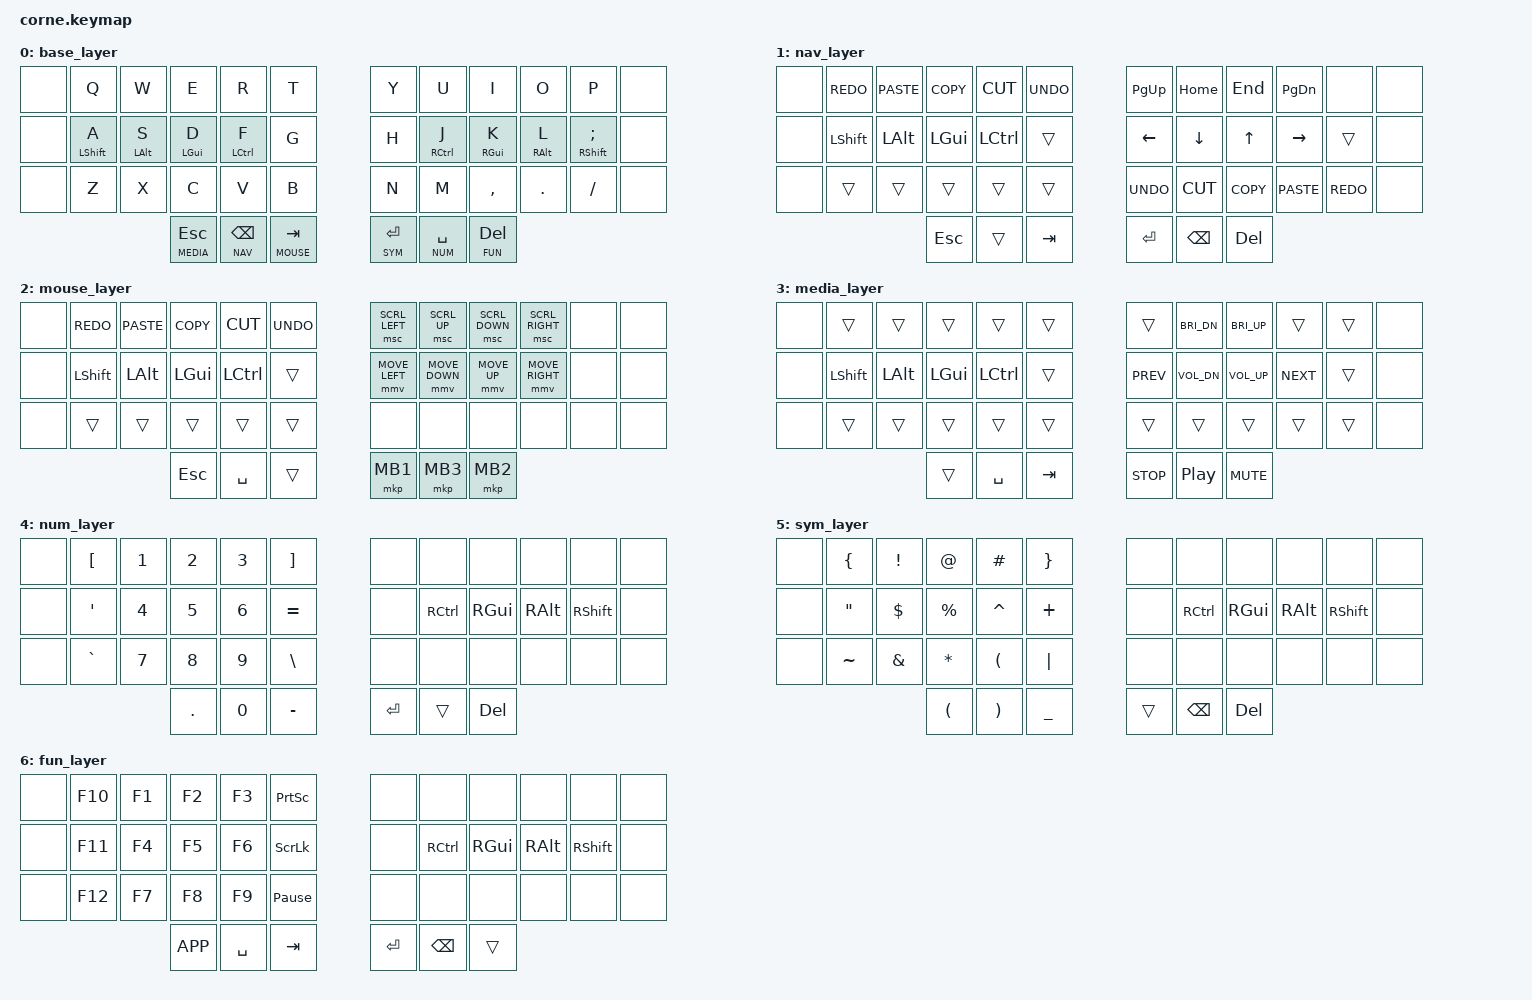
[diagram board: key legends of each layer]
/*
 * Copyright (c) 2020 The ZMK Contributors
 *
 * SPDX-License-Identifier: MIT
 */

#include <behaviors.dtsi>
#include <dt-bindings/zmk/keys.h>
#include <dt-bindings/zmk/bt.h>
#include <dt-bindings/zmk/mouse.h>

#define BASE  0
#define NAV   1
#define MOUSE 2
#define MEDIA 3
#define NUM   4
#define SYM   5
#define FUN   6

/ {
    behaviors {
        hm: homerow_mods {
            compatible = "zmk,behavior-hold-tap";
            label = "HOMEROW_MODS";
            #binding-cells = <2>;
            tapping-term-ms = <280>;
            quick-tap-ms = <175>;
            require-prior-idle-ms = <150>;
            flavor = "balanced";
            bindings = <&kp>, <&kp>;
        };
    };

    keymap {
        compatible = "zmk,keymap";

        base_layer {
// ╭──────┬──────┬──────┬──────┬──────┬──────╮   ╭──────┬──────┬──────┬──────┬──────┬──────╮
// │      │  Q   │  W   │  E   │  R   │  T   │   │  Y   │  U   │  I   │  O   │  P   │      │
// │      │GUI/A │ALT/S │CTL/D │SHT/F │  G   │   │  H   │SHT/J │CTL/K │ALT/L │GUI/; │      │
// │      │  Z   │  X   │  C   │  V   │  B   │   │  N   │  M   │  ,   │  .   │  /   │      │
// ╰──────┴──────┴──────┼──────┼──────┼──────┤   ├──────┼──────┼──────┼──────┴──────┴──────╯
//                      │Med/⎋ │Nav/⌫ │Mou/⇥ │   │Sym/↵ │Num/␣ │Fun/⌦ │
//                      ╰──────┴──────┴──────╯   ╰──────┴──────┴──────╯
            bindings = <
   &none  &kp Q       &kp W       &kp E        &kp R        &kp T          &kp Y        &kp U        &kp I        &kp O       &kp P         &none
   &none  &hm LSHFT A &hm LALT S  &hm LGUI D   &hm LCTRL F  &kp G          &kp H        &hm RCTRL J  &hm RGUI K  &hm RALT L  &hm RSHFT SEMI &none
   &none  &kp Z       &kp X       &kp C        &kp V        &kp B          &kp N        &kp M        &kp COMMA    &kp DOT     &kp FSLH      &none
                                  &lt MEDIA ESC &lt NAV BSPC  &lt MOUSE TAB  &lt SYM RET  &lt NUM SPC &lt FUN DEL
            >;
        };

        nav_layer {
// ╭──────┬──────┬──────┬──────┬──────┬──────╮   ╭──────┬──────┬──────┬──────┬──────┬──────╮
// │      │ Redo │Paste │ Copy │ Cut  │ Undo │   │ PgUp │ Home │ End  │ PgDn │      │      │
// │      │ GUI  │ ALT  │ CTL  │ SHT  │      │   │  ←   │   ↓  │  ↑   │  →   │      │      │
// │      │      │      │      │      │      │   │      │ Undo │ Cut  │ Copy │Paste │      │
// ╰──────┴──────┴──────┼──────┼──────┼──────┤   ├──────┼──────┼──────┼──────┴──────┴──────╯
//                      │  ⎋   │(held)│  ⇥   │   │  ↵   │  ⌫   │  ⌦   │
//                      ╰──────┴──────┴──────╯   ╰──────┴──────┴──────╯
            bindings = <
   &none  &kp K_REDO  &kp K_PASTE &kp K_COPY &kp K_CUT  &kp K_UNDO   &kp PG_UP   &kp HOME  &kp END    &kp PG_DN    &none       &none
   &none  &kp LSHFT   &kp LALT    &kp LGUI   &kp LCTRL  &trans       &kp LEFT    &kp DOWN  &kp UP     &kp RIGHT    &trans      &none
   &none  &trans      &trans      &trans     &trans     &trans       &kp K_UNDO  &kp K_CUT &kp K_COPY &kp K_PASTE  &kp K_REDO  &none
                                  &kp ESC    &trans     &kp TAB      &kp RET     &kp BSPC  &kp DEL
            >;
        };

        mouse_layer {
// ╭──────┬──────┬──────┬──────┬──────┬──────╮   ╭──────┬──────┬──────┬──────┬──────┬──────╮
// │      │ Redo │Paste │ Copy │ Cut  │ Undo │   │      │WhlLt │WhlUp │WhlDn │WhlRt │      │
// │      │ GUI  │ ALT  │ CTL  │ SHT  │      │   │ MsLt │ MsDn │ MsUp │ MsRt │      │      │
// │      │      │      │      │      │      │   │      │      │      │      │      │      │
// ╰──────┴──────┴──────┼──────┼──────┼──────┤   ├──────┼──────┼──────┼──────┴──────┴──────╯
//                      │  ⎋   │  ␣   │(held)│   │ MB1  │ MB3  │ MB2  │
//                      ╰──────┴──────┴──────╯   ╰──────┴──────┴──────╯
            bindings = <
   &none  &kp K_REDO  &kp K_PASTE &kp K_COPY &kp K_CUT  &kp K_UNDO    &msc SCRL_LEFT  &msc SCRL_UP    &msc SCRL_DOWN  &msc SCRL_RIGHT  &none      &none
   &none  &kp LSHFT   &kp LALT    &kp LGUI   &kp LCTRL  &trans        &mmv MOVE_LEFT  &mmv MOVE_DOWN  &mmv MOVE_UP    &mmv MOVE_RIGHT  &none      &none
   &none  &trans      &trans      &trans     &trans     &trans        &none           &none           &none           &none            &none      &none
                                  &kp ESC    &kp SPACE  &trans        &mkp MB1   &mkp MB3        &mkp MB2
            >;
        };

        media_layer {
// ╭──────┬──────┬──────┬──────┬──────┬──────╮   ╭──────┬──────┬──────┬──────┬──────┬──────╮
// │      │      │      │      │      │      │   │      │BriDn │BriUp │      │      │      │
// │      │ SHT  │ ALT  │ GUI  │ CTL  │      │   │ Prev │VolDn │VolUp │ Next │      │      │
// │      │      │      │      │      │      │   │      │      │      │      │      │      │
// ╰──────┴──────┴──────┼──────┼──────┼──────┤   ├──────┼──────┼──────┼──────┴──────┴──────╯
//                      │(held)│  ␣   │  ⇥   │   │ Stop │Play/⏸│ Mute │
//                      ╰──────┴──────┴──────╯   ╰──────┴──────┴──────╯
            bindings = <
   &none  &trans    &trans    &trans     &trans     &trans     &trans       &kp C_BRI_DN  &kp C_BRI_UP  &trans        &trans      &none
   &none  &kp LSHFT &kp LALT  &kp LGUI   &kp LCTRL  &trans     &kp C_PREV   &kp C_VOL_DN  &kp C_VOL_UP  &kp C_NEXT    &trans      &none
   &none  &trans    &trans    &trans     &trans     &trans     &trans       &trans        &trans        &trans        &trans      &none
                              &trans     &kp SPACE  &kp TAB    &kp C_STOP   &kp C_PP      &kp C_MUTE
            >;
        };

        num_layer {
// ╭──────┬──────┬──────┬──────┬──────┬──────╮   ╭──────┬──────┬──────┬──────┬──────┬──────╮
// │      │  [   │  1   │  2   │  3   │  ]   │   │      │      │      │      │      │      │
// │      │  '   │  4   │  5   │  6   │  =   │   │      │ CTL  │ GUI  │ ALT  │ SHT  │      │
// │      │  `   │  7   │  8   │  9   │  \   │   │      │      │      │      │      │      │
// ╰──────┴──────┴──────┼──────┼──────┼──────┤   ├──────┼──────┼──────┼──────┴──────┴──────╯
//                      │  .   │  0   │  -   │   │  ↵   │(held)│  ⌦   │
//                      ╰──────┴──────┴──────╯   ╰──────┴──────┴──────╯
            bindings = <
   &none  &kp LBKT   &kp N1  &kp N2  &kp N3  &kp RBKT     &none    &none      &none      &none     &none     &none
   &none  &kp SQT    &kp N4  &kp N5  &kp N6  &kp EQUAL    &none    &kp RCTRL  &kp RGUI   &kp RALT  &kp RSHFT &none
   &none  &kp GRAVE  &kp N7  &kp N8  &kp N9  &kp BSLH     &none    &none      &none      &none     &none     &none
                             &kp DOT &kp N0  &kp MINUS    &kp RET  &trans     &kp DEL
            >;
        };

        sym_layer {
// ╭──────┬──────┬──────┬──────┬──────┬──────╮   ╭──────┬──────┬──────┬──────┬──────┬──────╮
// │      │  {   │  &   │  *   │  (   │  }   │   │      │      │      │      │      │      │
// │      │  "   │  $   │  %   │  ^   │  +   │   │      │ SHT  │ CTL  │ ALT  │ GUI  │      │
// │      │  ~   │  !   │  @   │  #   │  |   │   │      │      │      │      │      │      │
// ╰──────┴──────┴──────┼──────┼──────┼──────┤   ├──────┼──────┼──────┼──────┴──────┴──────╯
//                      │  (   │  )   │  _   │   │(held)│  ⌫   │  ⌦   │
//                      ╰──────┴──────┴──────╯   ╰──────┴──────┴──────╯
            bindings = <
   &none  &kp LBRC   &kp EXCL  &kp AT     &kp HASH   &kp RBRC    &none    &none      &none      &none     &none     &none
   &none  &kp DQT    &kp DLLR  &kp PRCNT  &kp CARET  &kp PLUS    &none    &kp RCTRL  &kp RGUI   &kp RALT  &kp RSHFT &none
   &none  &kp TILDE  &kp AMPS  &kp ASTRK  &kp LPAR   &kp PIPE    &none    &none      &none      &none     &none     &none
                               &kp LPAR   &kp RPAR   &kp UNDER   &trans   &kp BSPC   &kp DEL
            >;
        };

        fun_layer {
// ╭──────┬──────┬──────┬──────┬──────┬──────╮   ╭──────┬──────┬──────┬──────┬──────┬──────╮
// │      │ F12  │  F7  │  F8  │  F9  │ PScr │   │      │      │      │      │      │      │
// │      │ F11  │  F4  │  F5  │  F6  │ScrLk │   │      │ SHT  │ CTL  │ ALT  │ GUI  │      │
// │      │ F10  │  F1  │  F2  │  F3  │ Paus │   │      │      │      │      │      │      │
// ╰──────┴──────┴──────┼──────┼──────┼──────┤   ├──────┼──────┼──────┼──────┴──────┴──────╯
//                      │ App  │  ␣   │  ⇥   │   │  ↵   │  ⌫   │(held)│
//                      ╰──────┴──────┴──────╯   ╰──────┴──────┴──────╯
            bindings = <
   &none  &kp F10  &kp F1  &kp F2  &kp F3  &kp PSCRN         &none    &none      &none      &none     &none     &none
   &none  &kp F11  &kp F4  &kp F5  &kp F6  &kp SCROLLLOCK    &none    &kp RCTRL  &kp RGUI   &kp RALT  &kp RSHFT &none
   &none  &kp F12  &kp F7  &kp F8  &kp F9  &kp PAUSE_BREAK   &none    &none      &none      &none     &none     &none
                           &kp K_APP &kp SPACE &kp TAB        &kp RET  &kp BSPC   &trans
            >;
        };
    };
};
